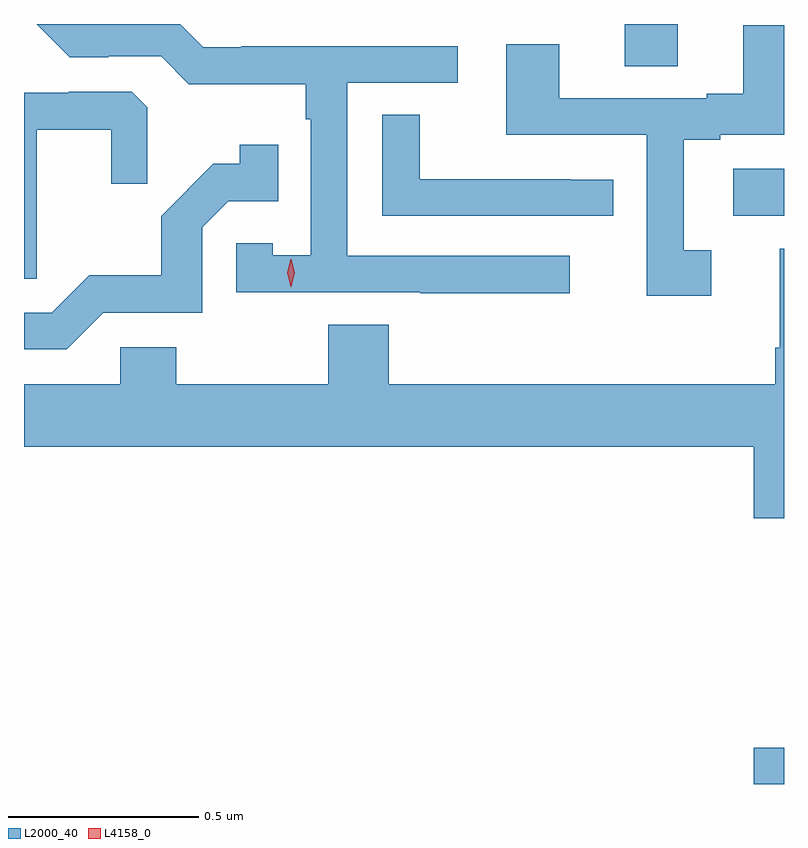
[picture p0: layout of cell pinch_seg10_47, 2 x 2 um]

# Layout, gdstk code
import gdstk
lib = gdstk.Library(unit=1e-6, precision=1e-09)
def R(c, l, rs):  # rectangles x0, y0, x1, y1
    for r in rs: c.add(gdstk.rectangle(r[:2], r[2:], *l))
def P(c, l, *ps):  # polygons
    for p in ps: c.add(gdstk.Polygon(p, *l))
L2000_40 = (2000, 40)
L4158_0 = (4158, 0)

pinch_seg10_47 = lib.new_cell('pinch_seg10_47')
R(pinch_seg10_47, L2000_40, [(884.288,1314.08,884.368,1314.175), (884.235,1315.575,884.368,1315.699), (883.949,1315.969,884.089,1316.08)])
P(pinch_seg10_47, L2000_40, [(883.804,1315.47),(883.218,1315.47),(883.218,1315.926),(883.51,1315.926),(883.51,1316.022),(882.94,1316.022),(882.94,1316.019),(882.84,1316.019),(882.779,1316.08),(882.401,1316.08),(882.489,1315.992),(882.59,1315.992),(882.59,1315.995),(882.729,1315.995),(882.802,1315.922),(883.11,1315.922),(883.11,1315.829),(883.122,1315.829),(883.122,1315.471),(883.023,1315.471),(883.023,1315.503),(882.927,1315.503),(882.927,1315.374),(883.411,1315.374),(883.411,1315.372),(883.804,1315.372)],
  [(884.176,1315.485),(884.104,1315.485),(884.104,1315.776),(884.2,1315.776),(884.2,1315.788),(884.368,1315.788),(884.368,1316.077),(884.261,1316.077),(884.261,1315.897),(884.165,1315.897),(884.165,1315.884),(883.777,1315.884),(883.777,1316.027),(883.637,1316.027),(883.637,1315.788),(884.007,1315.788),(884.007,1315.365),(884.176,1315.365)],
  [(882.401,1315.802),(882.598,1315.802),(882.598,1315.659),(882.692,1315.659),(882.692,1315.861),(882.651,1315.902),(882.486,1315.902),(882.486,1315.899),(882.368,1315.899),(882.368,1315.41),(882.401,1315.41)],
  [(883.918,1315.67),(883.805,1315.67),(883.805,1315.671),(883.41,1315.671),(883.41,1315.841),(883.311,1315.841),(883.311,1315.575),(883.918,1315.575)],
  [(882.576,1315.32),(882.837,1315.32),(882.837,1315.545),(882.906,1315.614),(883.037,1315.614),(883.037,1315.762),(882.936,1315.762),(882.936,1315.712),(882.866,1315.712),(882.729,1315.574),(882.729,1315.419),(882.54,1315.419),(882.441,1315.32),(882.368,1315.32),(882.368,1315.224),(882.48,1315.224)],
  [(884.368,1315.489),(884.357,1315.489),(884.357,1315.228),(884.345,1315.228),(884.345,1315.132),(883.328,1315.132),(883.328,1315.289),(883.168,1315.289),(883.168,1315.132),(882.768,1315.132),(882.768,1315.23),(882.621,1315.23),(882.621,1315.132),(882.368,1315.132),(882.368,1314.968),(884.288,1314.968),(884.288,1314.78),(884.368,1314.78)])
P(pinch_seg10_47, L4158_0, [(883.07,1315.389),(883.061,1315.425),(883.07,1315.461),(883.071,1315.461),(883.071,1315.461),(883.081,1315.425),(883.071,1315.389),(883.071,1315.389)])

lib.write_gds('pinch_seg10_47.gds')
